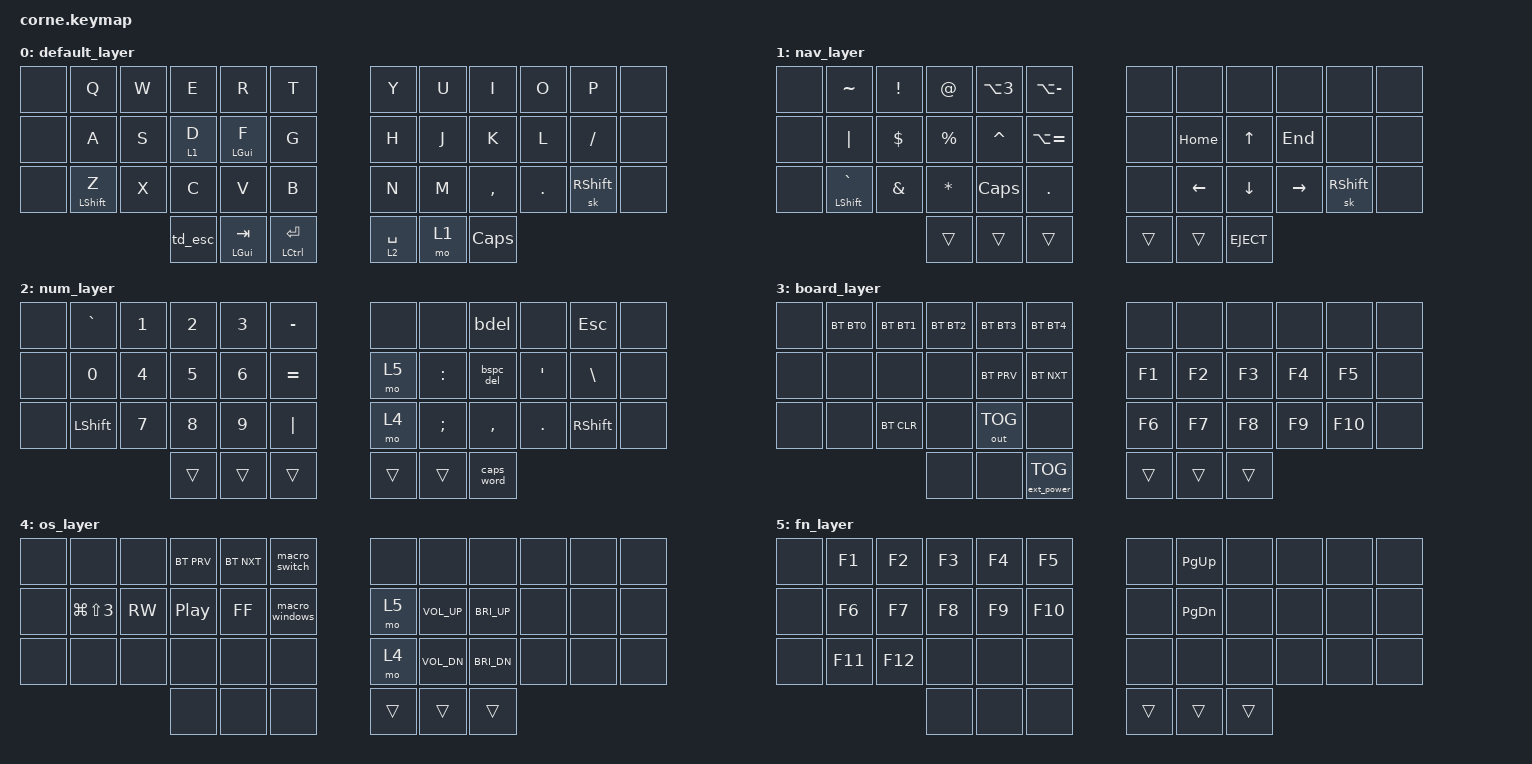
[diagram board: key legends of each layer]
/*
 * Copyright (c) 2020 The ZMK Contributors
 *
 * SPDX-License-Identifier: MIT
 */

#include <behaviors.dtsi>
#include <dt-bindings/zmk/keys.h>
#include <dt-bindings/zmk/bt.h>
// include <dt-bindings/zmk/backlight.h>
#include <dt-bindings/zmk/outputs.h>
#include <dt-bindings/zmk/ext_power.h>
#include <dt-bindings/zmk/rgb.h>
// include <dt-bindings/led/led.h>

/*           40 Keys (Note: for the Fifi, I just ignore the outer columns)
╭─────────────────╮ ╭─────────────────╮
│ 0  1  2  3  4  5│ │ 6  7  8  9 10 11│
│12 13 14 15 16 17│ │18 19 20 21 22 23│
│24 25 26 27 28 29│ │30 31 32 33 34 35│
╰────────╮36 37 38│ │39 40 41 ╭───────╯
         ╰────────╯ ╰─────────╯         */

#define BT0 BT_SEL 0
#define BT1 BT_SEL 1
#define BT2 BT_SEL 2
#define BT3 BT_SEL 3
#define BT4 BT_SEL 4
// #define MO_TOG(layer) &mo_tog layer layer   // Macro to apply momentary-layer-on-hold/toggle-layer-on-tap to a specific layer

// &led_strip {
//    chain-length = <18>;
// };

&mt {
    tapping-term-ms = <500>;
    // retro-tap;
};

&sk {
    release-after-ms = <3000>;
    quick-release;
};

&caps_word {
    continue-list = <UNDERSCORE MINUS SPACE BACKSPACE>;
};

/ {

    combos {
        compatible = "zmk,combos";

	combo_capz {
           timeout-ms = <200>;
           key-positions = <25 26>;
	   layers = <0>;
           bindings = <&kp LS(Z)>;
         };

	combo_lshft {
           timeout-ms = <200>;
           key-positions = <3 15>;
	   layers = <0 1 2>;
           bindings = <&sk LSHIFT>;
         };

        combo_mo3 {
           timeout-ms = <300>;
           key-positions = <39 40 41>;
	   layers = <0 1 2 3 4>;
           bindings = <&mo 3>;
         };

	combo_lpar {
           timeout-ms = <100>;
           key-positions = <4 5>;
           bindings = <&kp LPAR>;
         };
		
	combo_rpar {
           timeout-ms = <100>;
           key-positions = <6 7>;
           bindings = <&kp RPAR>;
         };
		
	combo_lbkt {
           timeout-ms = <100>;
           key-positions = <16 17>;
           bindings = <&kp LBKT>;
         };
		
	combo_rbkt {
           timeout-ms = <100>;
           key-positions = <18 19>;
           bindings = <&kp RBKT>;
         };
		
	combo_lbrc {
           timeout-ms = <100>;
           key-positions = <28 29>;
           bindings = <&kp LBRC>;
         };
		
	combo_rbrc {
           timeout-ms = <100>;
           key-positions = <30 31>;
           bindings = <&kp RBRC>;
         };

	combo_hyper {
           timeout-ms = <50>;
           key-positions = <19 20>;
	   layers = <0 2>;
           bindings = <&sk LG(LS(LA(LCTRL)))>;
         };

	combo_semi {
	   timeout-ms = <30>;
	   key-positions = <7 19>;
	   layers = <0>;
	   bindings = <&kp SEMI>;
	 };

	combo_colon {
	   timeout-ms = <30>;
	   key-positions = <19 31>;
	   layers = <0>;
	   bindings = <&kp COLON>;
	 };


	combo_slideover {
	   timeout-ms = <30>;
	   layers = <0>;
	   key-positions = <2 14>;
	   bindings = <&macro_slideover>;
	 };

	combo_apos {
	   timeout-ms = <50>;
	   layers = <0>;
	   key-positions = <20 21>;
	   bindings = <&kp SQT>;
	 };

	combo_altapos {
	   timeout-ms = <50>;
	   layers = <0>;
	   key-positions = <20 32>;
	   bindings = <&kp SQT>;
	 };

	combo_dash {
           timeout-ms = <200>;
           key-positions = <4 16>;
	   layers = <0 1 2>;
           bindings = <&kp MINUS>;
         };

	combo_undersc {
           timeout-ms = <200>;
           key-positions = <16 28>;
	   layers = <0 1 2>;
           bindings = <&kp LS(MINUS)>;
         };

	combo_emdash {
	   timeout-ms = <50>;
	   layers = <0 1 2>;
	   key-positions = <5 17>;
	   bindings = <&kp LS(LA(MINUS))>;
	 };

	combo_plus {
	   timeout-ms = <50>;
	   layers = <0 1 2>;
	   key-positions = <17 29>;
	   bindings = <&kp LS(EQUAL)>;
	 };

     };
     
     behaviors {

	td_esc: tap_dance_esc {
            compatible = "zmk,behavior-tap-dance";
            label = "TAP_DANCE_ESC";
            #binding-cells = <0>;
            tapping-term-ms = <200>;
            bindings = <&kp LALT>, <&kp ESC>;
        };

	macro_slideover: macro_slideover {
            label = "ZM_macro_slideover";
            compatible = "zmk,behavior-macro";
            #binding-cells = <0>;
            bindings
                = <&macro_press &kp CAPS>
                , <&macro_tap &kp BSLH>
                , <&macro_release &kp CAPS>
                ;
        };

	macro_windows: macro_windows {
            label = "ZM_macro_windows";
            compatible = "zmk,behavior-macro";
            #binding-cells = <0>;
            bindings
                = <&macro_press &kp CAPS>
                , <&macro_tap &kp DOWN>
                , <&macro_release &kp CAPS>
                ;
        };

	macro_switch: macro_switch {
            label = "ZM_macro_switch";
            compatible = "zmk,behavior-macro";
            #binding-cells = <0>;
            bindings
                = <&macro_press &kp CAPS>
                , <&macro_tap &kp GRAVE>
                , <&macro_release &kp CAPS>
                ;
        };

	bdel: backdelete {
            compatible = "zmk,behavior-mod-morph";
            label      = "BACK_DEL";
            #binding-cells = <0>;
            bindings = <&kp LA(BSPC)>, <&kp LA(DEL)>;
            mods     = <(MOD_LSFT | MOD_RSFT)>;
	};

	hm: homerow_mods {
            compatible = "zmk,behavior-hold-tap";
            label = "HOMEROW_MODS";
            #binding-cells = <2>;
            tapping-term-ms = <275>;
            quick-tap-ms = <0>;
            flavor = "tap-preferred";
            bindings = <&kp>, <&kp>;
        };

	bspc_del: backspace_delete {
            compatible = "zmk,behavior-mod-morph";
            label = "BACKSPACE_DELETE";
            #binding-cells = <0>;
            bindings = <&kp BACKSPACE>, <&kp DELETE>;
            mods = <(MOD_LSFT|MOD_RSFT)>;
        };

	ht_z: holdtap_z {
            compatible = "zmk,behavior-hold-tap";
            label = "HOLD_TAP"; 
            #binding-cells = <2>;
            tapping-term-ms = <650>;
	    quick-tap-ms = <200>;
    	    require-prior-idle-ms = <125>;
            flavor = "hold-preferred";
            bindings = <&kp>, <&kp>;
        };

	ht_hl: holdtap_homerowlayer {
            compatible = "zmk,behavior-hold-tap";
            label = "HOLDTAP_HOMELAY"; 
            #binding-cells = <2>;
            tapping-term-ms = <400>;
            flavor = "tap-preferred";
	    require-prior-idle-ms = <125>;
            bindings = <&mo>, <&kp>;
        };
	
    };

        keymap {
                compatible = "zmk,keymap";

                default_layer {

                        bindings = <
   &none   &kp Q    		&kp W    	&kp E       	&kp R      	&kp T          		&kp Y   	&kp U    	&kp I       	&kp O    	&kp P 		&none
   &none   &kp A    		&kp S    	&ht_hl 1 D     	&hm LGUI F      &kp G          		&kp H   	&kp J    	&kp K       	&kp L    	&kp FSLH  	&none
   &none   &ht_z LSHIFT Z    	&kp X    	&kp C       	&kp V      	&kp B          		&kp N   	&kp M    	&kp COMMA   	&kp DOT  	&sk RSHFT   	&none
                                		&td_esc	   	&mt LGUI TAB  	&mt LCTRL RET  		&lt 2 SPACE	&mo 1 		&kp CAPS 
                        >;
                };

		nav_layer {

                        bindings = <
   &none   &kp TILDE  		&kp EXCL	&kp AT   	&kp LA(N3)     	&kp LA(MINUS)		&none		&none		&none	        &none		&none   	&none    
   &none   &kp PIPE		&kp DLLR	&kp PRCNT  	&kp CARET   	&kp LA(EQUAL)		&none 		&kp HOME	&kp UP		&kp END		&none		&none       	
   &none   &hm LSHIFT GRAVE 	&kp AMPS  	&kp STAR	&kp CAPS	&kp DOT			&none		&kp LEFT    	&kp DOWN	&kp RIGHT	&sk RSHFT	&none
                                		&trans  	&trans		&trans			&trans   	&trans   	&kp C_EJECT
                        >;
                };

		num_layer {

			bindings = <
   &none   &kp GRAVE  		&kp N1  	&kp N2  	&kp N3    	&kp MINUS    		&none		&none		&bdel  		&none		&kp ESC   	&none    
   &none   &kp N0  		&kp N4		&kp N5		&kp N6  	&kp EQUAL  		&mo 5		&kp COLON	&bspc_del  	&kp SQT		&kp BSLH	&none       
   &none   &kp LSHFT 		&kp N7		&kp N8		&kp N9		&kp PIPE		&mo 4		&kp SEMI	&kp COMMA  	&kp DOT		&kp RSHFT	&none
                                		&trans  	&trans		&trans			&trans   	&trans  	&caps_word
                        >;
                };
		
		board_layer {
	
			bindings = <
   &none   &bt BT0		&bt BT1	    	&bt BT2  	&bt BT3		&bt BT4			&none 		&none		&none 		&none		&none		&none
   &none   &none  		&none		&none     	&bt BT_PRV	&bt BT_NXT		&kp F1 		&kp F2   	&kp F3		&kp F4		&kp F5		&none	 
   &none   &none  		&bt BT_CLR  	&none       	&out OUT_TOG	&none			&kp F6		&kp F7   	&kp F8  	&kp F9		&kp F10		&none	 
                        			&none	    	&none   	&ext_power EP_TOG  	&trans  	&trans  	&trans
                        >;
                };

		os_layer {

                        bindings = <
   &none   &none  		&none  		&bt BT_PRV   	&bt BT_NXT   	&macro_switch		&none		&none		&none		&none		&none		&none
   &none   &kp LG(LS(NUMBER_3)) &kp C_RW  	&kp C_PP	&kp C_FF	&macro_windows		&mo 5 		&kp C_VOL_UP   	&kp C_BRI_UP	&none		&none		&none	 
   &none   &none  		&none	  	&none		&none		&none			&mo 4		&kp C_VOL_DN   	&kp C_BRI_DN  	&none		&none		&none	 
                                		&none 		&none 		&none  			&trans  	&trans  	&trans
                        >;
                };

		fn_layer {

                        bindings = <
   &none   &kp F1  		&kp F2 		&kp F3   	&kp F4   	&kp F5			&none		&kp PG_UP	&none		&none		&none		&none
   &none   &kp F6 		&kp F7		&kp F8		&kp F9		&kp F10			&none 		&kp PG_DN   	&none		&none		&none		&none	 
   &none   &kp F11  		&kp F12   	&none	  	&none		&none			&none		&none   	&none  		&none		&none		&none	 
                                		&none 		&none 		&none  			&trans  	&trans  	&trans
                        >;
                };
		
        };
};
